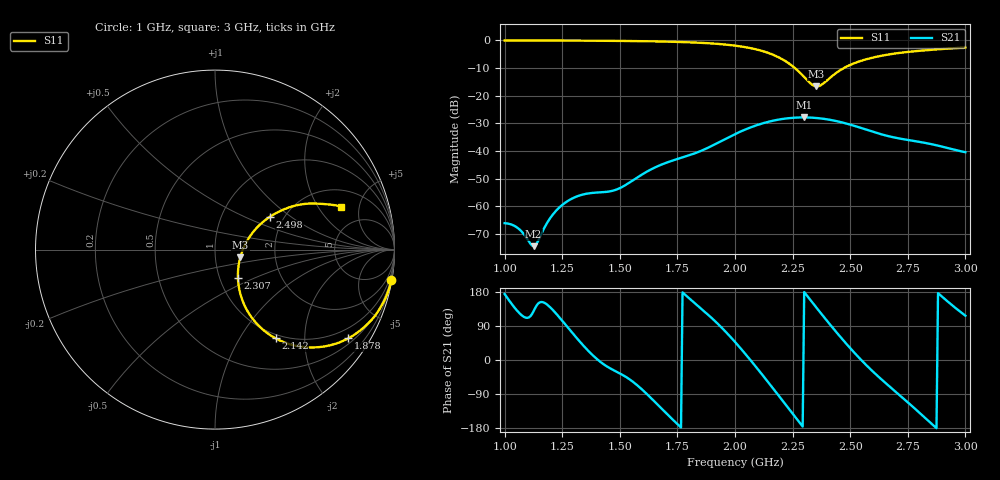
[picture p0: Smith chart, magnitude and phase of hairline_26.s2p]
! TOUCHSTONE file generated by CST MICROWAVE STUDIO
! Date and time: Tue Mar 18 20:31:46 2025
! Project name: hairline.cst
! Parameters = {B=12.5; D=160; F=15; Feed=2.85625; Fracture=1; L=100; M=30; R=0.384908; S=1.5; Theta=180; length=57.125; wave=114.25}
! Header version: 2024
! Port assignment regex: !\s*Touchstone port\s*([0-9]+)\s*=\s*(CST MWS port|CST DES external port|CST DES block port)\s*(.+)\s* \(\"(.*)\"\)(\s*mode\s*([0-9]+))?.*
! Touchstone port assignment:
! Touchstone port 1 = CST MWS port 1 ("")
! Touchstone port 2 = CST MWS port 2 ("")
# GHz S DB R 50
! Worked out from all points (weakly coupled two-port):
!   304 points, 1 GHz to 3 GHz, reference 50 ohm
!   highest |S21| = -27.86 dB at 2.3 GHz (marker M1); lowest = -74.4 dB at 1.125 GHz (marker M2)
!   lowest |S11| = -16.6 dB at 2.353 GHz (marker M3), VSWR 1.35, Z = 66.1 - j5.94 ohm
!   |S11| at or under -10 dB: 2.26 GHz to 2.473 GHz (212.8 MHz wide, 8.99 % of centre)
!   S12 and S22 are empty: the file has one direction only
!   S11 on the Smith chart (normalised r, x): 1 GHz: 0, -12; 1.878 GHz: 0.66, -3.18; 2.142 GHz: 0.94, -1.45; 2.307 GHz: 1.22, -0.40; 2.498 GHz: 1.70, +0.71; 3 GHz: 3.08, +3.29
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1  -0.02 -9.7  -66.11 174.1  -200.00 0.0  -200.00 0.0
1.05941  -0.03 -10.5  -68.02 126.7  -200.00 0.0  -200.00 0.0
1.12541  -0.04 -11.5  -74.43 128.4  -200.00 0.0  -200.00 0.0
1.13861  -0.04 -11.7  -73.54 143.5  -200.00 0.0  -200.00 0.0
1.18482  -0.05 -12.4  -65.95 146.1  -200.00 0.0  -200.00 0.0
1.22442  -0.06 -13.1  -61.52 121.9  -200.00 0.0  -200.00 0.0
1.27723  -0.07 -14.0  -57.93 83.8  -200.00 0.0  -200.00 0.0
1.33663  -0.09 -15.1  -55.82 41.5  -200.00 0.0  -200.00 0.0
1.48845  -0.18 -18.5  -53.86 -31.8  -200.00 0.0  -200.00 0.0
1.66667  -0.37 -23.9  -45.42 -119.3  -200.00 0.0  -200.00 0.0
1.87789  -0.99 -33.6  -39.02 122.4  -200.00 0.0  -200.00 0.0
2.0033  -1.93 -42.6  -33.77 45.4  -200.00 0.0  -200.00 0.0
2.14191  -4.45 -55.7  -29.50 -57.0  -200.00 0.0  -200.00 0.0
2.22772  -7.97 -62.0  -28.18 -123.9  -200.00 0.0  -200.00 0.0
2.30033  -13.26 -53.7  -27.86 179.2  -200.00 0.0  -200.00 0.0
2.30693  -13.84 -51.0  -27.86 174.1  -200.00 0.0  -200.00 0.0
2.33993  -16.28 -29.4  -27.98 148.5  -200.00 0.0  -200.00 0.0
2.35314  -16.64 -17.4  -28.06 138.4  -200.00 0.0  -200.00 0.0
2.37294  -16.18 0.1  -28.24 123.3  -200.00 0.0  -200.00 0.0
2.49835  -8.93 30.9  -30.43 32.4  -200.00 0.0  -200.00 0.0
2.66997  -5.05 27.0  -34.72 -69.5  -200.00 0.0  -200.00 0.0
3  -2.58 18.8  -40.45 116.9  -200.00 0.0  -200.00 0.0
